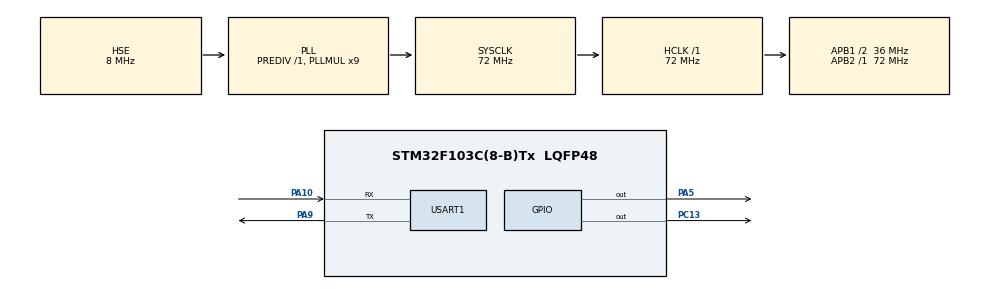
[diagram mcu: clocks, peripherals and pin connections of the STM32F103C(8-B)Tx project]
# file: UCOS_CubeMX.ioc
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Mcu.Family=STM32F1
Mcu.Name=STM32F103C(8-B)Tx
Mcu.Package=LQFP48
NVIC.PriorityGroup=NVIC_PRIORITYGROUP_4
NVIC.USART1_IRQn=true\:0\:0\:false\:false\:true\:true\:true\:true
PA10.Mode=Asynchronous
PA10.Signal=USART1_RX
PA13.Mode=Serial_Wire
PA13.Signal=SYS_JTMS-SWDIO
PA14.Mode=Serial_Wire
PA14.Signal=SYS_JTCK-SWCLK
PA5.Signal=GPIO_Output
PA9.Mode=Asynchronous
PA9.Signal=USART1_TX
PC13-TAMPER-RTC.Signal=GPIO_Output
PD0-OSC_IN.Mode=HSE-External-Oscillator
PD0-OSC_IN.Signal=RCC_OSC_IN
PD1-OSC_OUT.Mode=HSE-External-Oscillator
PD1-OSC_OUT.Signal=RCC_OSC_OUT
ProjectManager.HeapSize=0x200
ProjectManager.StackSize=0x400
ProjectManager.TargetToolchain=MDK-ARM V5.32
RCC.AHBFreq_Value=72000000
RCC.APB1CLKDivider=RCC_HCLK_DIV2
RCC.APB1Freq_Value=36000000
RCC.APB1TimFreq_Value=72000000
RCC.APB2Freq_Value=72000000
RCC.APB2TimFreq_Value=72000000
RCC.HCLKFreq_Value=72000000
RCC.PLLMUL=RCC_PLL_MUL9
RCC.PLLSourceVirtual=RCC_PLLSOURCE_HSE
RCC.SYSCLKFreq_VALUE=72000000
RCC.SYSCLKSource=RCC_SYSCLKSOURCE_PLLCLK
RCC.USBFreq_Value=72000000
USART1.VirtualMode=VM_ASYNC
board=custom

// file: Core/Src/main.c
/* USER CODE END Header */
#include "main.h"
#include "gpio.h"
#include "usart.h"
/* USER CODE BEGIN Includes */
#include <includes.h>
#include "stm32f1xx_hal.h"
#include <stdbool.h>
/* USER CODE END Includes */

/* USER CODE BEGIN PD */
/* 任务优先级 */
#define START_TASK_PRIO		3
#define LED_PC13_TASK_PRIO		4
#define MSG_TASK_PRIO			5
#define LED_PA5_TASK_PRIO		6

/* 任务堆栈大小	*/
#define START_STK_SIZE 		64
#define LED_PC13_STK_SIZE 		64
#define MSG_STK_SIZE 			64//任务堆大小过大会报错，可以试着改小一点
#define LED_PA5_STK_SIZE 		64

/* 任务栈 */
CPU_STK START_TASK_STK[START_STK_SIZE];
CPU_STK LED_PC13_TASK_STK[LED_PC13_STK_SIZE];
CPU_STK MSG_TASK_STK[MSG_STK_SIZE];
CPU_STK LED_PA5_TASK_STK[LED_PA5_STK_SIZE];
/* 任务控制块 */
OS_TCB StartTaskTCB;
OS_TCB Ledpc13TaskTCB;
OS_TCB MsgTaskTCB;
OS_TCB Ledpa5TaskTCB;
/* USER CODE END PD */

/* USER CODE BEGIN PM */
int fputc(int ch,FILE *f){
	HAL_UART_Transmit(&huart1,(uint8_t *)&ch,1,0xffff);
	return ch;
}
/* USER CODE END PM */

/* USER CODE BEGIN PV */

/* 任务函数定义 */
void start_task(void *p_arg);
static  void  AppTaskCreate(void);
static  void  AppObjCreate(void);
static  void  led_pc13(void *p_arg);
static  void  send_msg(void *p_arg);
static  void  led_pa5(void *p_arg);
/* USER CODE END PV */

void SystemClock_Config(void);

/* USER CODE BEGIN 0 */
/**
  * @brief System Clock Configuration
  * @retval None
  */
void SystemClock_Config(void)
{
  RCC_OscInitTypeDef RCC_OscInitStruct = {0};
  RCC_ClkInitTypeDef RCC_ClkInitStruct = {0};

  /**Initializes the CPU, AHB and APB busses clocks
  */
  RCC_OscInitStruct.OscillatorType = RCC_OSCILLATORTYPE_HSE;
  RCC_OscInitStruct.HSEState = RCC_HSE_ON;
  RCC_OscInitStruct.HSEPredivValue = RCC_HSE_PREDIV_DIV1;
  RCC_OscInitStruct.HSIState = RCC_HSI_ON;
  RCC_OscInitStruct.PLL.PLLState = RCC_PLL_ON;
  RCC_OscInitStruct.PLL.PLLSource = RCC_PLLSOURCE_HSE;
  RCC_OscInitStruct.PLL.PLLMUL = RCC_PLL_MUL9;
  if (HAL_RCC_OscConfig(&RCC_OscInitStruct) != HAL_OK)
  {
    Error_Handler();
  }
  /**Initializes the CPU, AHB and APB busses clocks
  */
  RCC_ClkInitStruct.ClockType = RCC_CLOCKTYPE_HCLK|RCC_CLOCKTYPE_SYSCLK
                              |RCC_CLOCKTYPE_PCLK1|RCC_CLOCKTYPE_PCLK2;
  RCC_ClkInitStruct.SYSCLKSource = RCC_SYSCLKSOURCE_PLLCLK;
  RCC_ClkInitStruct.AHBCLKDivider = RCC_SYSCLK_DIV1;
  RCC_ClkInitStruct.APB1CLKDivider = RCC_HCLK_DIV2;
  RCC_ClkInitStruct.APB2CLKDivider = RCC_HCLK_DIV1;

  if (HAL_RCC_ClockConfig(&RCC_ClkInitStruct, FLASH_LATENCY_2) != HAL_OK)
  {
    Error_Handler();
  }
}

/* USER CODE END 0 */

int main(void)
{
	OS_ERR  err;
	OSInit(&err);
  HAL_Init();
	SystemClock_Config();
	//MX_GPIO_Init(); 这个在BSP的初始化里也会初始化
  MX_USART1_UART_Init();
	/* 创建任务 */
	OSTaskCreate((OS_TCB     *)&StartTaskTCB,                /* Create the start task                                */
				 (CPU_CHAR   *)"start task",
				 (OS_TASK_PTR ) start_task,
				 (void       *) 0,
				 (OS_PRIO     ) START_TASK_PRIO,
				 (CPU_STK    *)&START_TASK_STK[0],
				 (CPU_STK_SIZE) START_STK_SIZE/10,
				 (CPU_STK_SIZE) START_STK_SIZE,
				 (OS_MSG_QTY  ) 0,
				 (OS_TICK     ) 0,
				 (void       *) 0,
				 (OS_OPT      )(OS_OPT_TASK_STK_CHK | OS_OPT_TASK_STK_CLR),
				 (OS_ERR     *)&err);
	/* 启动多任务系统，控制权交给uC/OS-III */
	OSStart(&err);            /* Start multitasking (i.e. give control to uC/OS-III). */

}

void start_task(void *p_arg)
{
	OS_ERR err;
	CPU_SR_ALLOC();
	p_arg = p_arg;

	/* YangJie add 2021.05.20*/
  BSP_Init();                                                   /* Initialize BSP functions */
  //CPU_Init();
  //Mem_Init();                                                 /* Initialize Memory Management Module */

#if OS_CFG_STAT_TASK_EN > 0u
   OSStatTaskCPUUsageInit(&err);  		//统计任务
#endif

#ifdef CPU_CFG_INT_DIS_MEAS_EN			//如果使能了测量中断关闭时间
    CPU_IntDisMeasMaxCurReset();
#endif

#if	OS_CFG_SCHED_ROUND_ROBIN_EN  		//当使用时间片轮转的时候
	 //使能时间片轮转调度功能,时间片长度为1个系统时钟节拍，既1*5=5ms
	OSSchedRoundRobinCfg(DEF_ENABLED,1,&err);
#endif

	OS_CRITICAL_ENTER();	//进入临界区
	/* 创建LED_PC13任务 */
	OSTaskCreate((OS_TCB 	* )&Ledpc13TaskTCB,
				 (CPU_CHAR	* )"led_pc13",
                 (OS_TASK_PTR )led_pc13,
                 (void		* )0,
                 (OS_PRIO	  )LED_PC13_TASK_PRIO,
                 (CPU_STK   * )&LED_PC13_TASK_STK[0],
                 (CPU_STK_SIZE)LED_PC13_STK_SIZE/10,
                 (CPU_STK_SIZE)LED_PC13_STK_SIZE,
                 (OS_MSG_QTY  )0,
                 (OS_TICK	  )0,
                 (void   	* )0,
                 (OS_OPT      )OS_OPT_TASK_STK_CHK|OS_OPT_TASK_STK_CLR,
                 (OS_ERR 	* )&err);

	/* 创建MSG任务 */
	OSTaskCreate((OS_TCB 	* )&MsgTaskTCB,
				 (CPU_CHAR	* )"send_msg",
                 (OS_TASK_PTR )send_msg,
                 (void		* )0,
                 (OS_PRIO	  )MSG_TASK_PRIO,
                 (CPU_STK   * )&MSG_TASK_STK[0],
                 (CPU_STK_SIZE)MSG_STK_SIZE/10,
                 (CPU_STK_SIZE)MSG_STK_SIZE,
                 (OS_MSG_QTY  )0,
                 (OS_TICK	  )0,
                 (void   	* )0,
                 (OS_OPT      )OS_OPT_TASK_STK_CHK|OS_OPT_TASK_STK_CLR,
                 (OS_ERR 	* )&err);

	/* 创建LED_PA5任务 */
	OSTaskCreate((OS_TCB 	* )&Ledpa5TaskTCB,
				 (CPU_CHAR	* )"led_pa5",
                 (OS_TASK_PTR )led_pa5,
                 (void		* )0,
                 (OS_PRIO	  )LED_PA5_TASK_PRIO,
                 (CPU_STK   * )&LED_PA5_TASK_STK[0],
                 (CPU_STK_SIZE)LED_PA5_STK_SIZE/10,
                 (CPU_STK_SIZE)LED_PA5_STK_SIZE,
                 (OS_MSG_QTY  )0,
                 (OS_TICK	  )0,
                 (void   	* )0,
                 (OS_OPT      )OS_OPT_TASK_STK_CHK|OS_OPT_TASK_STK_CLR,
                 (OS_ERR 	* )&err);

	OS_TaskSuspend((OS_TCB*)&StartTaskTCB,&err);		//挂起开始任务
	OS_CRITICAL_EXIT();	//进入临界区
}
/**
  * 函数功能: 启动任务函数体。
  * 输入参数: p_arg 是在创建该任务时传递的形参
  * 返 回 值: 无
  * 说    明：无
  */
static  void  led_pc13 (void *p_arg)
{
  OS_ERR      err;

  (void)p_arg;

  BSP_Init();                                                 /* Initialize BSP functions                             */
  CPU_Init();

  Mem_Init();                                                 /* Initialize Memory Management Module                  */

#if OS_CFG_STAT_TASK_EN > 0u
  OSStatTaskCPUUsageInit(&err);                               /* Compute CPU capacity with no task running            */
#endif

  CPU_IntDisMeasMaxCurReset();

  AppTaskCreate();                                            /* Create Application Tasks                             */

  AppObjCreate();                                             /* Create Application Objects                           */

  while (DEF_TRUE)
  {
		HAL_GPIO_WritePin(GPIOC,GPIO_PIN_13,GPIO_PIN_RESET);
		OSTimeDlyHMSM(0, 0, 1, 0,OS_OPT_TIME_HMSM_STRICT,&err);
		HAL_GPIO_WritePin(GPIOC,GPIO_PIN_13,GPIO_PIN_SET);
		OSTimeDlyHMSM(0, 0, 1, 0,OS_OPT_TIME_HMSM_STRICT,&err);
    /* USER CODE END WHILE */

  }
}
static  void  send_msg (void *p_arg)
{
  OS_ERR      err;

  (void)p_arg;

  BSP_Init();                                                 /* Initialize BSP functions                             */
  CPU_Init();

  Mem_Init();                                                 /* Initialize Memory Management Module                  */

#if OS_CFG_STAT_TASK_EN > 0u
  OSStatTaskCPUUsageInit(&err);                               /* Compute CPU capacity with no task running            */
#endif

  CPU_IntDisMeasMaxCurReset();

  AppTaskCreate();                                            /* Create Application Tasks                             */

  AppObjCreate();                                             /* Create Application Objects                           */

  while (DEF_TRUE)
  {

			printf("Hello ppqppl ！ 欢迎来到RTOS多任务环境！\r\n");
		  OSTimeDlyHMSM(0, 0, 0, 500,OS_OPT_TIME_HMSM_STRICT,&err);
    /* USER CODE END WHILE */

  }
}
static  void  led_pa5 (void *p_arg)
{
  OS_ERR      err;

  (void)p_arg;

  BSP_Init();                                                 /* Initialize BSP functions                             */
  CPU_Init();

  Mem_Init();                                                 /* Initialize Memory Management Module                  */

#if OS_CFG_STAT_TASK_EN > 0u
  OSStatTaskCPUUsageInit(&err);                               /* Compute CPU capacity with no task running            */
#endif

  CPU_IntDisMeasMaxCurReset();

  AppTaskCreate();                                            /* Create Application Tasks                             */

  AppObjCreate();                                             /* Create Application Objects                           */

  while (DEF_TRUE)
  {
		HAL_GPIO_WritePin(GPIOA,GPIO_PIN_5,GPIO_PIN_RESET);
		OSTimeDlyHMSM(0, 0, 3, 0,OS_OPT_TIME_HMSM_STRICT,&err);
		HAL_GPIO_WritePin(GPIOA,GPIO_PIN_5,GPIO_PIN_SET);
		OSTimeDlyHMSM(0, 0, 3, 0,OS_OPT_TIME_HMSM_STRICT,&err);
    /* USER CODE END WHILE */

  }
}

/* USER CODE BEGIN 4 */
/**
  * 函数功能: 创建应用任务
  * 输入参数: p_arg 是在创建该任务时传递的形参
  * 返 回 值: 无
  * 说    明：无
  */
static  void  AppTaskCreate (void)
{

}

/**
  * 函数功能: uCOSIII内核对象创建
  * 输入参数: 无
  * 返 回 值: 无
  * 说    明：无
  */
static  void  AppObjCreate (void)
{

}

/* USER CODE END 4 */

void Error_Handler(void)
{
}

/************************ (C) COPYRIGHT STMicroelectronics *****END OF FILE****/
